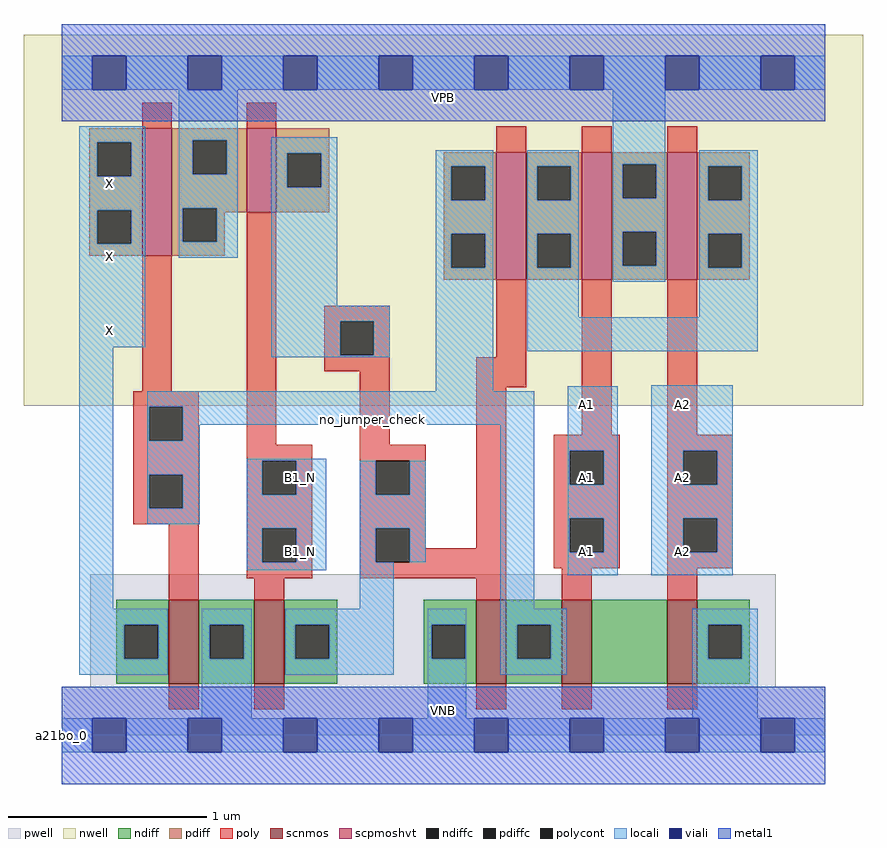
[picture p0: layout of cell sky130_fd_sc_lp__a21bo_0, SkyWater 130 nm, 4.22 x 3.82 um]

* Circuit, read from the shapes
.subckt sky130_fd_sc_lp__a21bo_0 A1 A2 B1_N VGND VNB VPB VPWR X
XM1 VGND n1 X VNB sky130_fd_pr__nfet_01v8 w=0.42 l=0.15
XM2 n2 B1_N VGND VNB sky130_fd_pr__nfet_01v8 w=0.42 l=0.15
XM3 n1 n2 VGND VNB sky130_fd_pr__nfet_01v8 w=0.42 l=0.15
XM4 n3 A1 n1 VNB sky130_fd_pr__nfet_01v8 w=0.42 l=0.15
XM5 VGND A2 n3 VNB sky130_fd_pr__nfet_01v8 w=0.42 l=0.15
XM6 VPWR n1 X VPB sky130_fd_pr__pfet_01v8_hvt w=0.64 l=0.15
XM7 n2 B1_N VPWR VPB sky130_fd_pr__pfet_01v8_hvt w=0.42 l=0.15
XM8 n4 n2 n1 VPB sky130_fd_pr__pfet_01v8_hvt w=0.64 l=0.15
XM9 VPWR A1 n4 VPB sky130_fd_pr__pfet_01v8_hvt w=0.64 l=0.15
XM10 n4 A2 VPWR VPB sky130_fd_pr__pfet_01v8_hvt w=0.64 l=0.15
.ends

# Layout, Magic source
magic
tech sky130A
magscale 1 2
<< nwell >>
rect -38 331 806 704
<< pwell >>
rect 29 49 718 162
rect 0 0 768 49
<< scnmos >>
rect 108 52 138 136
rect 194 52 224 136
rect 417 52 447 136
rect 503 52 533 136
rect 609 52 639 136
<< scpmoshvt >>
rect 81 482 111 610
rect 186 526 216 610
rect 437 458 467 586
rect 523 458 553 586
rect 609 458 639 586
<< ndiff >>
rect 55 111 108 136
rect 55 77 63 111
rect 97 77 108 111
rect 55 52 108 77
rect 138 111 194 136
rect 138 77 149 111
rect 183 77 194 111
rect 138 52 194 77
rect 224 111 277 136
rect 224 77 235 111
rect 269 77 277 111
rect 224 52 277 77
rect 364 111 417 136
rect 364 77 372 111
rect 406 77 417 111
rect 364 52 417 77
rect 447 111 503 136
rect 447 77 458 111
rect 492 77 503 111
rect 447 52 503 77
rect 533 52 609 136
rect 639 111 692 136
rect 639 77 650 111
rect 684 77 692 111
rect 639 52 692 77
<< pdiff >>
rect 28 596 81 610
rect 28 562 36 596
rect 70 562 81 596
rect 28 528 81 562
rect 28 494 36 528
rect 70 494 81 528
rect 28 482 81 494
rect 111 598 186 610
rect 111 564 132 598
rect 166 564 186 598
rect 111 530 186 564
rect 111 496 122 530
rect 156 526 186 530
rect 216 585 269 610
rect 216 551 227 585
rect 261 551 269 585
rect 216 526 269 551
rect 384 572 437 586
rect 384 538 392 572
rect 426 538 437 572
rect 156 496 164 526
rect 111 482 164 496
rect 384 504 437 538
rect 384 470 392 504
rect 426 470 437 504
rect 384 458 437 470
rect 467 572 523 586
rect 467 538 478 572
rect 512 538 523 572
rect 467 504 523 538
rect 467 470 478 504
rect 512 470 523 504
rect 467 458 523 470
rect 553 574 609 586
rect 553 540 564 574
rect 598 540 609 574
rect 553 506 609 540
rect 553 472 564 506
rect 598 472 609 506
rect 553 458 609 472
rect 639 572 692 586
rect 639 538 650 572
rect 684 538 692 572
rect 639 504 692 538
rect 639 470 650 504
rect 684 470 692 504
rect 639 458 692 470
<< ndiffc >>
rect 63 77 97 111
rect 149 77 183 111
rect 235 77 269 111
rect 372 77 406 111
rect 458 77 492 111
rect 650 77 684 111
<< pdiffc >>
rect 36 562 70 596
rect 36 494 70 528
rect 132 564 166 598
rect 122 496 156 530
rect 227 551 261 585
rect 392 538 426 572
rect 392 470 426 504
rect 478 538 512 572
rect 478 470 512 504
rect 564 540 598 574
rect 564 472 598 506
rect 650 538 684 572
rect 650 470 684 504
<< poly >>
rect 81 610 111 636
rect 186 610 216 636
rect 437 586 467 612
rect 523 586 553 612
rect 609 586 639 612
rect 81 346 111 482
rect 72 330 138 346
rect 72 296 88 330
rect 122 296 138 330
rect 72 262 138 296
rect 72 228 88 262
rect 122 228 138 262
rect 72 212 138 228
rect 108 136 138 212
rect 186 292 216 526
rect 264 416 330 432
rect 264 382 280 416
rect 314 382 330 416
rect 264 366 330 382
rect 437 380 467 458
rect 300 292 330 366
rect 417 350 467 380
rect 186 276 252 292
rect 186 242 202 276
rect 236 242 252 276
rect 186 208 252 242
rect 186 174 202 208
rect 236 174 252 208
rect 186 158 252 174
rect 300 276 366 292
rect 300 242 316 276
rect 350 242 366 276
rect 300 208 366 242
rect 300 174 316 208
rect 350 188 366 208
rect 417 188 447 350
rect 523 302 553 458
rect 609 302 639 458
rect 350 174 447 188
rect 300 158 447 174
rect 495 286 561 302
rect 495 252 511 286
rect 545 252 561 286
rect 495 218 561 252
rect 495 184 511 218
rect 545 184 561 218
rect 495 168 561 184
rect 609 286 675 302
rect 609 252 625 286
rect 659 252 675 286
rect 609 218 675 252
rect 609 184 625 218
rect 659 184 675 218
rect 609 168 675 184
rect 194 136 224 158
rect 417 136 447 158
rect 503 136 533 168
rect 609 136 639 168
rect 108 26 138 52
rect 194 26 224 52
rect 417 26 447 52
rect 503 26 533 52
rect 609 26 639 52
<< polycont >>
rect 88 296 122 330
rect 88 228 122 262
rect 280 382 314 416
rect 202 242 236 276
rect 202 174 236 208
rect 316 242 350 276
rect 316 174 350 208
rect 511 252 545 286
rect 511 184 545 218
rect 625 252 659 286
rect 625 184 659 218
<< locali >>
rect 0 649 31 683
rect 65 649 127 683
rect 161 649 223 683
rect 257 649 319 683
rect 353 649 415 683
rect 449 649 511 683
rect 545 649 607 683
rect 641 649 703 683
rect 737 649 768 683
rect 18 596 84 612
rect 18 562 36 596
rect 70 562 84 596
rect 18 528 84 562
rect 18 494 36 528
rect 70 494 84 528
rect 18 390 84 494
rect 118 598 177 649
rect 118 564 132 598
rect 166 564 177 598
rect 118 530 177 564
rect 118 496 122 530
rect 156 496 177 530
rect 118 480 177 496
rect 211 585 277 601
rect 211 551 227 585
rect 261 551 277 585
rect 211 432 277 551
rect 376 572 434 588
rect 376 538 392 572
rect 426 538 434 572
rect 376 504 434 538
rect 376 470 392 504
rect 426 470 434 504
rect 211 416 330 432
rect 18 127 52 390
rect 211 382 280 416
rect 314 382 330 416
rect 211 380 330 382
rect 376 346 434 470
rect 468 572 520 588
rect 468 538 478 572
rect 512 538 520 572
rect 468 504 520 538
rect 468 470 478 504
rect 512 470 520 504
rect 468 420 520 470
rect 554 574 607 649
rect 554 540 564 574
rect 598 540 607 574
rect 554 506 607 540
rect 554 472 564 506
rect 598 472 607 506
rect 554 456 607 472
rect 641 572 700 588
rect 641 538 650 572
rect 684 538 700 572
rect 641 504 700 538
rect 641 470 650 504
rect 684 470 700 504
rect 641 420 700 470
rect 468 386 700 420
rect 86 330 475 346
rect 86 296 88 330
rect 122 312 475 330
rect 122 296 139 312
rect 86 262 139 296
rect 86 228 88 262
rect 122 228 139 262
rect 86 212 139 228
rect 186 276 266 278
rect 186 242 202 276
rect 236 242 266 276
rect 186 208 266 242
rect 186 174 202 208
rect 236 174 266 208
rect 186 166 266 174
rect 300 242 316 276
rect 350 242 366 276
rect 300 208 366 242
rect 300 174 316 208
rect 350 174 366 208
rect 300 127 334 174
rect 441 127 475 312
rect 509 286 559 351
rect 509 252 511 286
rect 545 252 559 286
rect 509 218 559 252
rect 509 184 511 218
rect 545 184 559 218
rect 509 161 559 184
rect 593 286 675 352
rect 593 252 625 286
rect 659 252 675 286
rect 593 218 675 252
rect 593 184 625 218
rect 659 184 675 218
rect 593 161 675 184
rect 18 111 107 127
rect 18 77 63 111
rect 97 77 107 111
rect 18 61 107 77
rect 141 111 191 127
rect 141 77 149 111
rect 183 77 191 111
rect 141 17 191 77
rect 225 111 334 127
rect 225 77 235 111
rect 269 77 334 111
rect 225 61 334 77
rect 368 111 407 127
rect 368 77 372 111
rect 406 77 407 111
rect 368 17 407 77
rect 441 111 508 127
rect 441 77 458 111
rect 492 77 508 111
rect 441 61 508 77
rect 634 111 700 127
rect 634 77 650 111
rect 684 77 700 111
rect 634 17 700 77
rect 0 -17 31 17
rect 65 -17 127 17
rect 161 -17 223 17
rect 257 -17 319 17
rect 353 -17 415 17
rect 449 -17 511 17
rect 545 -17 607 17
rect 641 -17 703 17
rect 737 -17 768 17
<< viali >>
rect 31 649 65 683
rect 127 649 161 683
rect 223 649 257 683
rect 319 649 353 683
rect 415 649 449 683
rect 511 649 545 683
rect 607 649 641 683
rect 703 649 737 683
rect 31 -17 65 17
rect 127 -17 161 17
rect 223 -17 257 17
rect 319 -17 353 17
rect 415 -17 449 17
rect 511 -17 545 17
rect 607 -17 641 17
rect 703 -17 737 17
<< metal1 >>
rect 0 683 768 715
rect 0 649 31 683
rect 65 649 127 683
rect 161 649 223 683
rect 257 649 319 683
rect 353 649 415 683
rect 449 649 511 683
rect 545 649 607 683
rect 641 649 703 683
rect 737 649 768 683
rect 0 617 768 649
rect 0 17 768 49
rect 0 -17 31 17
rect 65 -17 127 17
rect 161 -17 223 17
rect 257 -17 319 17
rect 353 -17 415 17
rect 449 -17 511 17
rect 545 -17 607 17
rect 641 -17 703 17
rect 737 -17 768 17
rect 0 -49 768 -17
<< labels >>
flabel pwell s 0 0 768 49 0 FreeSans 200 0 0 0 VNB
port 5 nsew ground bidirectional
flabel nwell s 0 617 768 666 0 FreeSans 200 0 0 0 VPB
port 6 nsew power bidirectional
rlabel comment s 0 0 0 0 4 a21bo_0
flabel comment s 313 317 313 317 0 FreeSans 200 90 0 0 no_jumper_check
flabel metal1 s 0 617 768 666 0 FreeSans 340 0 0 0 VPWR
port 7 nsew power bidirectional
flabel metal1 s 0 0 768 49 0 FreeSans 340 0 0 0 VGND
port 4 nsew ground bidirectional
flabel locali s 607 168 641 202 0 FreeSans 340 0 0 0 A2
port 2 nsew signal input
flabel locali s 607 242 641 276 0 FreeSans 340 0 0 0 A2
port 2 nsew signal input
flabel locali s 607 316 641 350 0 FreeSans 340 0 0 0 A2
port 2 nsew signal input
flabel locali s 223 168 257 202 0 FreeSans 340 0 0 0 B1_N
port 3 nsew signal input
flabel locali s 223 242 257 276 0 FreeSans 340 0 0 0 B1_N
port 3 nsew signal input
flabel locali s 511 168 545 202 0 FreeSans 340 0 0 0 A1
port 1 nsew signal input
flabel locali s 511 242 545 276 0 FreeSans 340 0 0 0 A1
port 1 nsew signal input
flabel locali s 511 316 545 350 0 FreeSans 340 0 0 0 A1
port 1 nsew signal input
flabel locali s 31 390 65 424 0 FreeSans 340 0 0 0 X
port 8 nsew signal output
flabel locali s 31 464 65 498 0 FreeSans 340 0 0 0 X
port 8 nsew signal output
flabel locali s 31 538 65 572 0 FreeSans 340 0 0 0 X
port 8 nsew signal output
<< properties >>
string LEFsite unit
string LEFclass CORE
string FIXED_BBOX 0 0 768 666
string GDS_FILE $PDKPATH/libs.ref/sky130_fd_sc_lp/gds/sky130_fd_sc_lp.gds
string LEFsymmetry X Y R90
string GDS_END 3778520
string GDS_START 3770724
<< end >>
